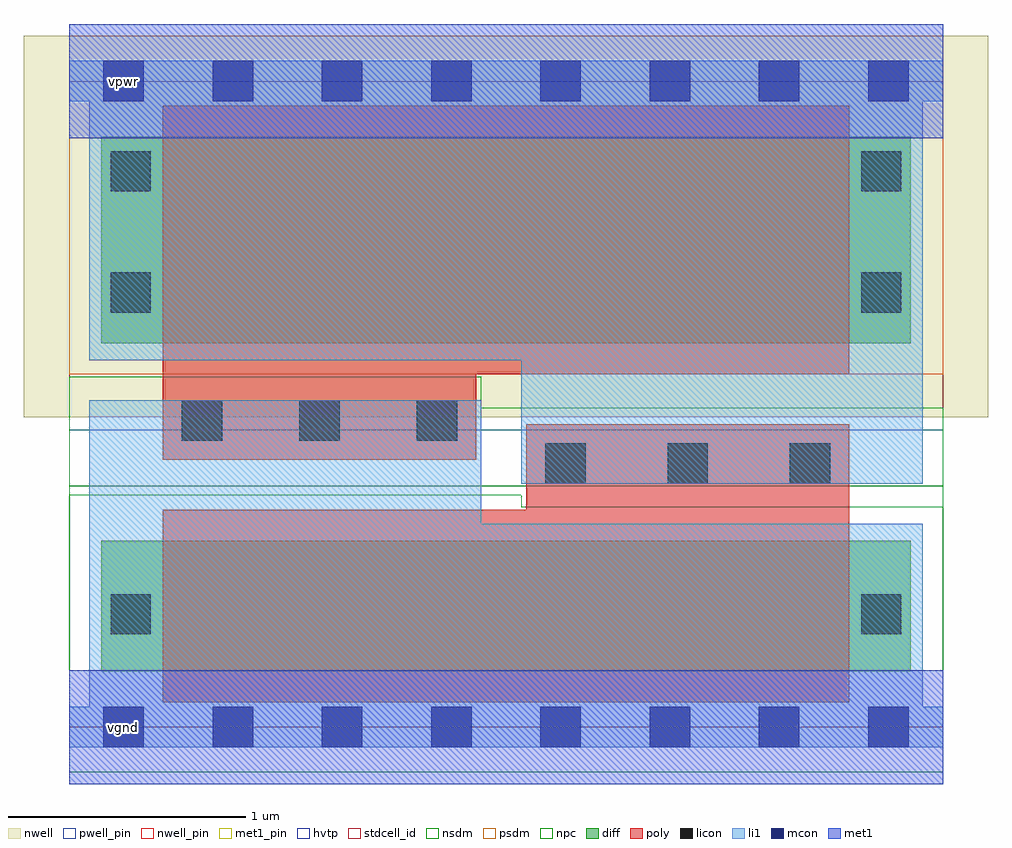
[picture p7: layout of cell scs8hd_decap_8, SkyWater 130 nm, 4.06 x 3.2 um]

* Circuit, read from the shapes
.subckt scs8hd_decap_8 vgnd vnb vpb vpwr
XM1 vgnd vpwr vgnd vnb sky130_fd_pr__nfet_01v8 w=0.55 l=2.89
XM2 vpwr vgnd vpwr vpb sky130_fd_pr__pfet_01v8_hvt w=0.87 l=2.89
.ends

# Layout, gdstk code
import gdstk
lib = gdstk.Library(unit=1e-6, precision=1e-09)
def R(c, l, rs):  # rectangles x0, y0, x1, y1
    for r in rs: c.add(gdstk.rectangle(r[:2], r[2:], *l))
def A(c, l, x, y, w, h, nx, ny, dx, dy):  # array of equal rectangles
    R(c, l, [(x+i*dx, y+j*dy, x+i*dx+w, y+j*dy+h) for i in range(nx) for j in range(ny)])
def P(c, l, *ps):  # polygons
    for p in ps: c.add(gdstk.Polygon(p, *l))
nwell_pin = (64, 16)
nwell = (64, 20)
diff = (65, 20)
poly = (66, 20)
licon = (66, 44)
li1 = (67, 20)
mcon = (67, 44)
met1_pin = (68, 16)
met1 = (68, 20)
hvtp = (78, 44)
stdcell_id = (81, 4)
nsdm = (93, 44)
psdm = (94, 20)
npc = (95, 20)
pwell_pin = (122, 16)

scs8hd_decap_8 = lib.new_cell('scs8hd_decap_8')
R(scs8hd_decap_8, nwell_pin, [(0.145,2.635,0.315,2.805)])
R(scs8hd_decap_8, nwell, [(-0.19,1.305,3.87,2.91)])
R(scs8hd_decap_8, diff, [(0.135,0.235,3.545,0.785), (0.135,1.615,3.545,2.485)])
P(scs8hd_decap_8, poly, [(3.285,2.615),(0.395,2.615),(0.395,1.125),(1.715,1.125),(1.715,1.485),(3.285,1.485)],
  [(3.285,1.275),(1.925,1.275),(1.925,0.915),(0.395,0.915),(0.395,0.105),(3.285,0.105)])
A(scs8hd_decap_8, licon, 2.005, 1.025, 0.17, 0.17, 3, 1, 0.515, 0)
A(scs8hd_decap_8, licon, 0.475, 1.205, 0.17, 0.17, 3, 1, 0.495, 0)
R(scs8hd_decap_8, licon, [(0.175,0.39,0.345,0.56), (3.335,0.39,3.505,0.56), (0.175,1.745,0.345,1.915), (3.335,1.745,3.505,1.915), (0.175,2.255,0.345,2.425), (3.335,2.255,3.505,2.425)])
P(scs8hd_decap_8, li1, [(3.68,0.085),(3.595,0.085),(3.595,0.855),(1.735,0.855),(1.735,1.375),(0.085,1.375),(0.085,0.085),(0,0.085),(0,-0.085),(3.68,-0.085)],
  [(3.68,2.805),(0,2.805),(0,2.635),(0.085,2.635),(0.085,1.545),(1.905,1.545),(1.905,1.025),(3.595,1.025),(3.595,2.635),(3.68,2.635)])
A(scs8hd_decap_8, mcon, 0.145, -0.085, 0.17, 0.17, 8, 2, 0.46, 2.72)
R(scs8hd_decap_8, met1_pin, [(0.145,-0.085,0.315,0.085), (0.145,2.635,0.315,2.805)])
R(scs8hd_decap_8, hvtp, [(0,1.25,3.68,2.72)])
R(scs8hd_decap_8, stdcell_id, [(0,0,3.68,2.72)])
R(scs8hd_decap_8, nsdm, [(0,-0.19,3.68,1.015)])
R(scs8hd_decap_8, psdm, [(0,1.485,3.68,2.91)])
P(scs8hd_decap_8, npc, [(3.68,1.345),(1.735,1.345),(1.735,1.475),(0,1.475),(0,0.975),(1.905,0.975),(1.905,0.925),(3.68,0.925)])
R(scs8hd_decap_8, pwell_pin, [(0.145,-0.085,0.315,0.085)])
scs8hd_decap_8.add(gdstk.FlexPath([(0,2.72),(3.68,2.72)], 0.48, ends="flush", simple_path=True, layer=68, datatype=20))  # met1
scs8hd_decap_8.add(gdstk.FlexPath([(0,0),(3.68,0)], 0.48, ends="flush", simple_path=True, layer=68, datatype=20))  # met1
scs8hd_decap_8.add(gdstk.Label('vpwr', (0.23,2.72), layer=68, texttype=5))
scs8hd_decap_8.add(gdstk.Label('vgnd', (0.23,0), layer=68, texttype=5))
scs8hd_decap_8.add(gdstk.Label('vpb', (0.23,2.72), layer=64, texttype=5))
scs8hd_decap_8.add(gdstk.Label('vnb', (0.23,0), layer=64, texttype=59))
scs8hd_decap_8.add(gdstk.Label('scs8hd_decap_8', (0,0), layer=83, texttype=44))

lib.write_gds('scs8hd_decap_8.gds')
